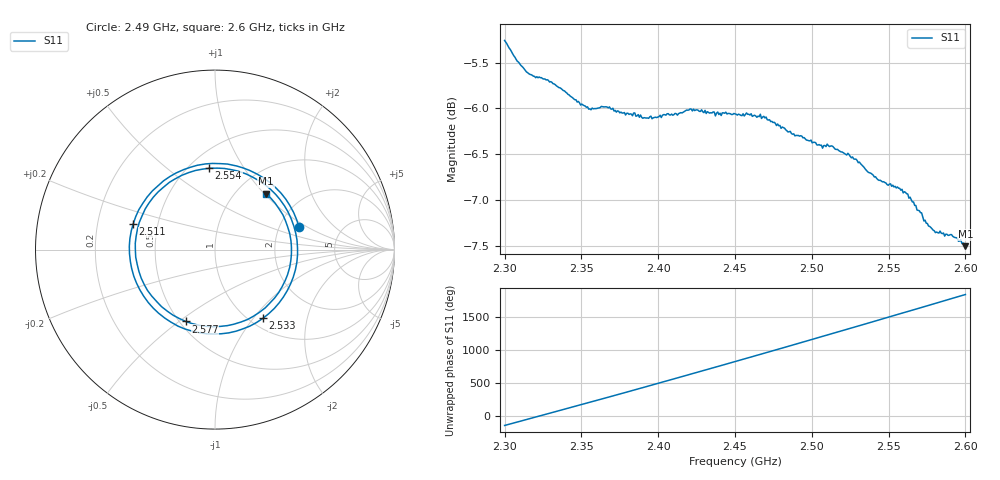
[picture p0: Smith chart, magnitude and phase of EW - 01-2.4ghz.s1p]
! NanoVNA-App
! Date: 2026-05-22 15:59:01
! Start: 2.3GHz Stop: 2.6GHz Points: 401
! S-Parameter data: F S11
# Hz S RI R 50
!  Frequency  S11_Real  S11_Imag
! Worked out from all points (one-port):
!   401 points, 2.3 GHz to 2.6 GHz, reference 50 ohm
!   lowest |S11| = -7.5 dB at 2.6 GHz (marker M1), VSWR 2.46, Z = 67.5 + j51.1 ohm
!   |S11| at or under -10 dB: nowhere
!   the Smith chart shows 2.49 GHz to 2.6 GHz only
!   S11 on the Smith chart (normalised r, x): 2.49 GHz: 2.56, +0.85; 2.511 GHz: 0.36, +0.13; 2.533 GHz: 1.15, -1.12; 2.554 GHz: 0.62, +0.71; 2.577 GHz: 0.54, -0.53; 2.6 GHz: 1.35, +1.02
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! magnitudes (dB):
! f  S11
! 2.3 GHz  -5.3
! 2.309 GHz  -5.5
! 2.315 GHz  -5.6
! 2.329 GHz  -5.7
! 2.337 GHz  -5.8
! 2.355 GHz  -6.0
! 2.367 GHz  -6.0
! 2.375 GHz  -6.0
! 2.392 GHz  -6.1
! 2.413 GHz  -6.1
! 2.421 GHz  -6.0
! 2.439 GHz  -6.0
! 2.45 GHz  -6.1
! 2.459 GHz  -6.1
! 2.468 GHz  -6.1
! 2.487 GHz  -6.3
! 2.49 GHz  -6.3
! 2.506 GHz  -6.4
! 2.511 GHz  -6.4
! 2.525 GHz  -6.5
! 2.533 GHz  -6.6
! 2.542 GHz  -6.8
! 2.554 GHz  -6.9
! 2.562 GHz  -6.9
! 2.577 GHz  -7.3
! 2.581 GHz  -7.3
! 2.592 GHz  -7.4
! 2.6 GHz  -7.5
